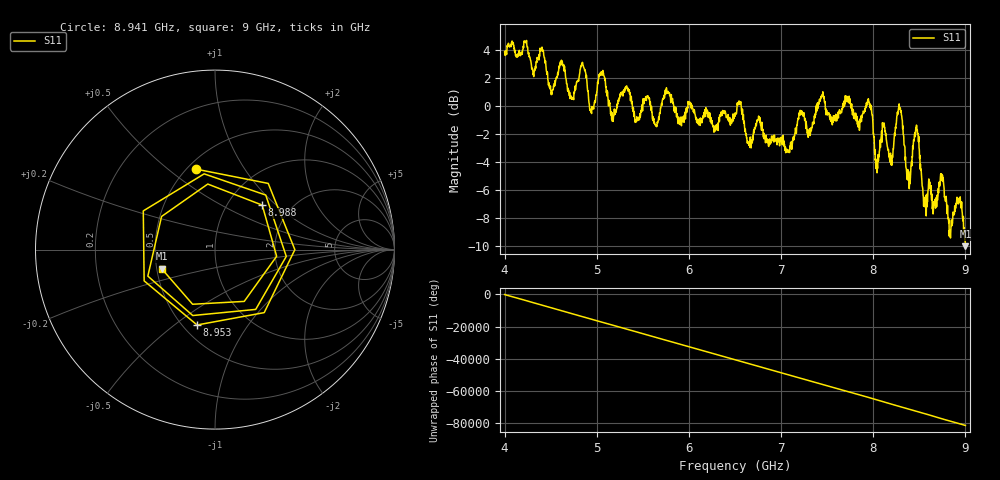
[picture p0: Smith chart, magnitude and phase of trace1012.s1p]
! Created with skrf 1.8.0 (http://scikit-rf.org).
# Hz S RI R 50.0
!freq ReS11 ImS11
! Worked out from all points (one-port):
!   1601 points, 4 GHz to 9 GHz, reference 50 ohm
!   lowest |S11| = -10.0 dB at 9 GHz (marker M1), VSWR 1.92, Z = 26.6 - j6.32 ohm
!   |S11| at or under -10 dB: 8.999796 GHz to end of sweep
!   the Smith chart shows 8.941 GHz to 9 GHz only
!   S11 on the Smith chart (normalised r, x): 8.941 GHz: 0.55, +0.63; 8.953 GHz: 0.59, -0.61; 8.988 GHz: 1.44, +0.82; 9 GHz: 0.53, -0.13
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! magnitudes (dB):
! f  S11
! 4 GHz  3.8
! 4.409 GHz  4.0
! 4.509 GHz  1.0
! 4.625 GHz  3.2
! 4.725 GHz  0.5
! 4.853 GHz  2.9
! 4.941 GHz  -0.4
! 5.05 GHz  2.3
! 5.169 GHz  -1.1
! 5.25 GHz  0.7
! 5.875 GHz  -0.8
! 6.5 GHz  -0.7
! 7.125 GHz  -2.5
! 7.441 GHz  0.8
! 7.75 GHz  0.2
! 7.959 GHz  0.1
! 8.041 GHz  -4.8
! 8.112 GHz  -1.3
! 8.194 GHz  -4.2
! 8.288 GHz  -0.2
! 8.375 GHz  -4.5
! 8.469 GHz  -1.4
! 8.562 GHz  -7.2
! 8.838 GHz  -9.4
! 8.941 GHz  -6.7
! 8.953 GHz  -7.3
! 8.988 GHz  -8.8
! 9 GHz  -10.0
